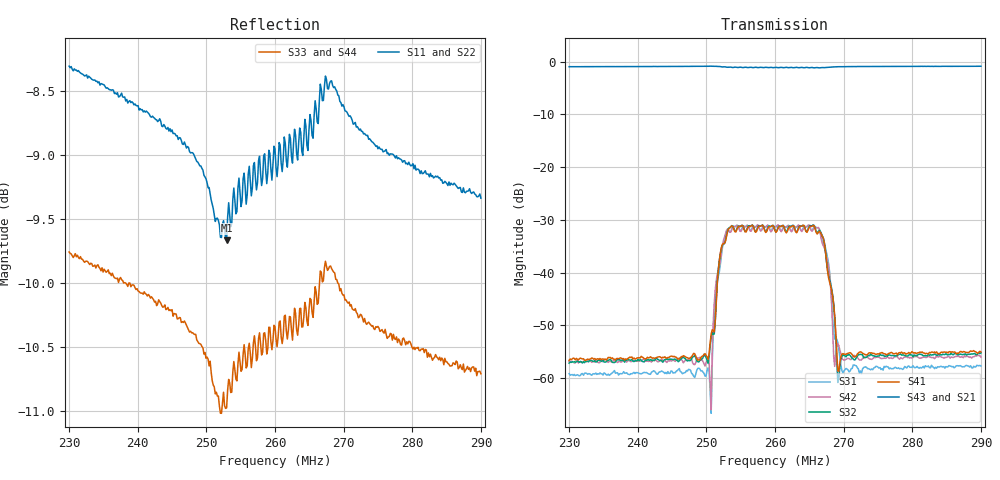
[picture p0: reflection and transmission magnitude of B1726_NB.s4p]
! Matrix data file, written by TouchstoneData, EPCOS AG
! FILENAME: "B495A.s4p"
! COMMENT: "Nodal admittance matrix  "
! DATE: "Mon Jun 14 17:08:07 2004"
! CREATOR: "Matthias Jungkunz, EPCOS AG"
# MHZ S RI R 50
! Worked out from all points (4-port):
!   401 points, 230 MHz to 290 MHz, reference 50 ohm
!   strongest paths, dB at 230 MHz, 245 MHz, 260 MHz, 275 MHz, 290 MHz:
!     S43: -1.0, -0.9, -1.1, -0.9, -0.9
!     S21: -1.1, -1.0, -1.3, -1.0, -1.0
!     S41: -56.6, -55.8, -32.0, -55.4, -55.0
!     S32: -57.2, -56.4, -32.0, -55.8, -55.2
!     S42: -56.8, -56.7, -31.3, -56.0, -56.0
!     S31: -59.2, -58.7, -31.3, -57.9, -57.7
!   lowest |S11| = -9.7 dB at 252.9 MHz (marker M1), VSWR 1.98, Z = 46.1 - j33.2 ohm
!   |S11| at or under -10 dB: nowhere
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230  0.0763 -0.3765  0.869 0.1278  0.000131 0.00109  0.000403 0.00142
     0.869 0.1278  0.1078 -0.3697  7.94e-05 0.00138  0.000663 0.00128
     0.000131 0.00109  7.94e-05 0.00138  0.0645 -0.3187  0.8929 0.0544
     0.000403 0.00142  0.000663 0.00128  0.8929 0.0544  0.0573 -0.3227
250.4  0.0502 -0.3408  0.8884 0.07  0.000423 0.00107  0.000303 0.00169
       0.8884 0.07  0.0803 -0.3357  -2.04e-05 0.00159  0.000868 0.00108
       0.000423 0.00107  -2.04e-05 0.00159  0.0462 -0.2898  0.9034 0.00449
       0.000303 0.00169  0.000868 0.00108  0.9034 0.00449  0.0394 -0.2934
251.45  0.0555 -0.3304  0.8859 0.0579  0.00478 0.00543  -0.00465 -0.00275
        0.8859 0.0579  0.0848 -0.3252  -0.00462 -0.00307  0.00622 0.0058
        0.00478 0.00543  -0.00462 -0.00307  0.0499 -0.2823  0.902 -0.00789
        -0.00465 -0.00275  0.00622 0.0058  0.902 -0.00789  0.0433 -0.2859
252.95  0.0705 -0.3209  0.8701 0.0481  0.0194 0.0146  -0.0191 -0.0117
        0.8701 0.0481  0.0991 -0.3136  -0.019 -0.0125  0.0205 0.0148
        0.0194 0.0146  -0.019 -0.0125  0.0622 -0.2757  0.8854 -0.0143
        -0.0191 -0.0117  0.0205 0.0148  0.8854 -0.0143  0.0559 -0.2797
266.6  0.0816 -0.3691  0.8502 0.0808  0.0203 -0.0125  -0.019 0.0149
       0.8502 0.0808  0.1174 -0.36  -0.0203 0.0141  0.0206 -0.0111
       0.0203 -0.0125  -0.0203 0.0141  0.0705 -0.3117  0.8743 0.00642
       -0.019 0.0149  0.0206 -0.0111  0.8743 0.00642  0.0628 -0.3155
269.3  0.0566 -0.3698  0.8746 0.0796  0.000448 0.00181  0.000445 0.00108
       0.8746 0.0796  0.0922 -0.3636  0.000104 0.000984  0.000787 0.00188
       0.000448 0.00181  0.000104 0.000984  0.0502 -0.3119  0.894 0.00335
       0.000445 0.00108  0.000787 0.00188  0.894 0.00335  0.0426 -0.3152
290  0.0342 -0.3395  0.8932 0.0298  0.000417 0.00123  0.000556 0.00168
     0.8932 0.0298  0.0681 -0.3354  0.000289 0.00171  0.000698 0.00142
     0.000417 0.00123  0.000289 0.00171  0.0358 -0.2892  0.9028 -0.0416
     0.000556 0.00168  0.000698 0.00142  0.9028 -0.0416  0.0281 -0.2927
